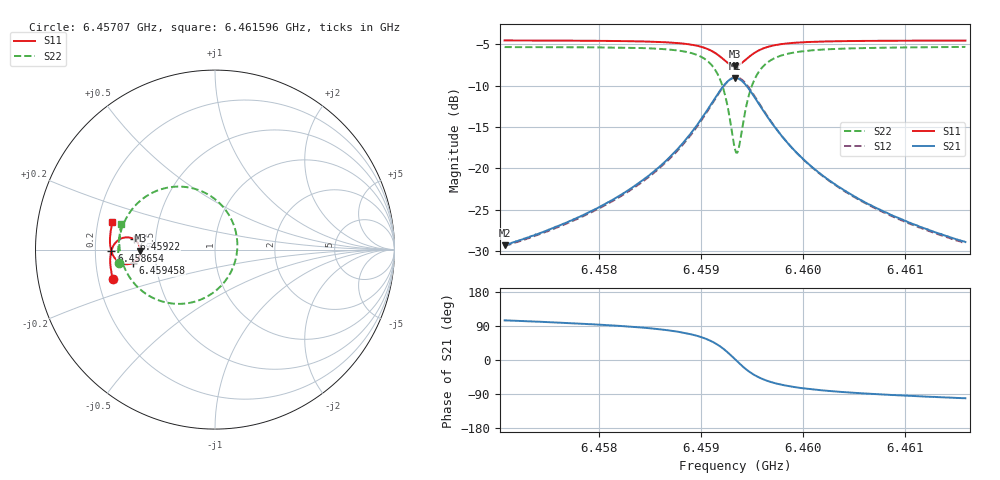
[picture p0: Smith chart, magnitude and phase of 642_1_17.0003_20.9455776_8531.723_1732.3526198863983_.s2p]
#  HZ  S  RI  R  50.00
! Rohde & Schwarz Vector Network Analyzer
! Rohde-Schwarz,ZNB20-2Port,1311601062101988,3.16
! Created: UTC 3/20/2024, 11:20:52 PM
! freq[Hz]  re:S11  im:S11  re:S21  im:S21  re:S12  im:S12  re:S22  im:S22
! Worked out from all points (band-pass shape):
!   401 points, 6.45707 GHz to 6.461596 GHz, reference 50 ohm
!   highest |S21| = -9.08 dB at 6.459333 GHz (marker M1); lowest = -29.3 dB at 6.45707 GHz (marker M2)
!   |S21| within 3 dB of the highest: 6.459107 GHz to 6.45956 GHz (453.1 kHz wide, 0.00702 % of centre)
!   lowest |S11| = -7.6 dB at 6.459333 GHz (marker M3), VSWR 2.42, Z = 20.7 - j0.337 ohm
!   |S11| at or under -10 dB: nowhere
!   |S22| runs from -18.1 to -5.3 dB; largest |S21 - S12| = 0.014
!   S11 on the Smith chart (normalised r, x): 6.45707 GHz: 0.26, -0.13; 6.458654 GHz: 0.27, -0.00; 6.45922 GHz: 0.38, +0.05; 6.459458 GHz: 0.37, -0.07; 6.461596 GHz: 0.26, +0.12
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6.4570702e9  -0.5687 -0.165  -0.00855 0.0331  -0.00696 0.033  -0.5346 -0.0761
6.4578283e9  -0.5818 -0.0982  -0.00512 0.0513  -0.00242 0.0508  -0.5385 0.0138
6.458247e9  -0.5841 -0.0558  0.0012 0.071  0.00442 0.0696  -0.5292 0.0812
6.4585865e9  -0.5797 -0.0151  0.0154 0.1001  0.0195 0.0974  -0.5026 0.1592
6.4586544e9  -0.5773 -0.00552  0.0209 0.1086  0.0249 0.1054  -0.4923 0.1795
6.4588467e9  -0.5643 0.0249  0.0482 0.1398  0.0523 0.1348  -0.4409 0.2489
6.4589938e9  -0.5412 0.051  0.0944 0.1705  0.0977 0.1637  -0.3556 0.3133
6.4591296e9  -0.4966 0.0683  0.183 0.1866  0.1838 0.1793  -0.1934 0.351
6.4592201e9  -0.4515 0.0575  0.274 0.1544  0.2742 0.1486  -0.0245 0.2988
6.459288e9  -0.4222 0.0248  0.3351 0.081  0.3372 0.0759  0.0924 0.1661
6.4593333e9  -0.4153 -0.00675  0.3512 0.012  0.3553 0.00505  0.1246 0.0364
6.4593672e9  -0.4193 -0.0309  0.3451 -0.0413  0.3494 -0.0505  0.1124 -0.0649
6.4594125e9  -0.4353 -0.0575  0.3159 -0.1022  0.3183 -0.1142  0.0529 -0.1803
6.4594578e9  -0.4578 -0.074  0.2728 -0.1437  0.2722 -0.1572  -0.0345 -0.2561
6.4595483e9  -0.5019 -0.0811  0.1864 -0.1748  0.1801 -0.1867  -0.2075 -0.3024
6.4596162e9  -0.5265 -0.0736  0.1371 -0.1726  0.1289 -0.1818  -0.3027 -0.2864
6.4596954e9  -0.5463 -0.0605  0.0967 -0.1601  0.0881 -0.1665  -0.3781 -0.2507
6.4598538e9  -0.5681 -0.0326  0.0514 -0.1314  0.0435 -0.1342  -0.4595 -0.1768
6.4600914e9  -0.5808 0.00296  0.022 -0.099  0.016 -0.0996  -0.5078 -0.0929
6.4604309e9  -0.5853 0.0437  0.00589 -0.0717  0.00173 -0.0711  -0.5292 -0.0127
6.4608496e9  -0.5833 0.0862  -0.00174 -0.0527  -0.00468 -0.0518  -0.533 0.0557
6.4615964e9  -0.5712 0.1526  -0.00678 -0.0351  -0.00851 -0.0342  -0.5214 0.1449
